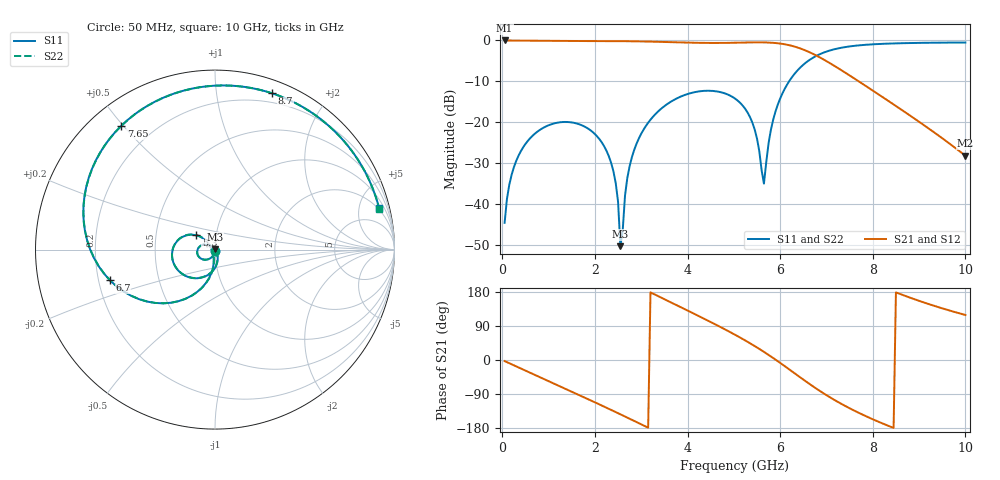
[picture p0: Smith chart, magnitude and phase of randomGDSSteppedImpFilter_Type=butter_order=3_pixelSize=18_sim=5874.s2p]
! freq	dB(S11)	phase(S11)	dB(S12)	phase(S12)
!  dB(S21)	phase(S21)	dB(S22)	phase(S22)
!S-par simulation data
#  GHz  S  DB  R 50
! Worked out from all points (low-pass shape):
!   200 points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, 50 MHz to 10 GHz, reference 50 ohm
!   highest |S21| = 0.00 dB at 50 MHz (marker M1); lowest = -28.2 dB at 10 GHz (marker M2)
!   |S21| within 3 dB of the highest: start of sweep to 6.658 GHz
!   lowest |S11| = -50.3 dB at 2.55 GHz (marker M3), VSWR 1.01, Z = 49.8 + j0.265 ohm
!   |S11| at or under -10 dB: start of sweep to 6.193 GHz
!   |S22| runs from -50.2 to -0.5 dB; largest |S21 - S12| = 0
!   S11 on the Smith chart (normalised r, x): 50 MHz: 1.00, -0.01; 5.3 GHz: 0.80, +0.13; 6.7 GHz: 0.25, -0.13; 7.65 GHz: 0.09, +0.49; 8.7 GHz: 0.11, +1.42; 10 GHz: 1.85, +7.66
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0.05  -44.55 -89.7  -0.00 -2.8  -0.00 -2.8  -44.55 -89.7
0.2  -32.87 -100.4  -0.03 -11.3  -0.03 -11.3  -32.87 -100.4
0.55  -24.55 -121.0  -0.06 -30.8  -0.06 -30.8  -24.55 -121.0
1.75  -20.89 171.5  -0.15 -97.6  -0.15 -97.6  -20.89 171.8
2.35  -29.89 137.1  -0.16 -131.7  -0.16 -131.7  -29.90 138.3
2.5  -39.45 127.3  -0.17 -140.4  -0.17 -140.4  -39.46 131.4
2.55  -50.25 119.9  -0.18 -143.3  -0.18 -143.3  -50.24 135.9
2.65  -37.89 -58.4  -0.18 -149.1  -0.18 -149.1  -37.87 -62.3
2.8  -28.47 -68.0  -0.20 -157.9  -0.20 -157.9  -28.46 -69.5
3.4  -16.98 -103.7  -0.34 166.5  -0.34 166.5  -16.98 -104.3
4.3  -12.37 -157.0  -0.60 112.5  -0.60 112.5  -12.37 -157.6
5.05  -14.40 157.4  -0.56 65.0  -0.56 65.0  -14.40 156.7
5.3  -17.68 142.7  -0.50 47.8  -0.50 47.8  -17.68 141.6
5.5  -23.97 136.3  -0.47 33.1  -0.47 33.1  -24.02 134.2
5.65  -34.98 -149.7  -0.48 21.5  -0.48 21.5  -36.08 -149.0
5.75  -25.11 -97.6  -0.52 13.5  -0.52 13.5  -25.24 -95.7
5.95  -15.64 -102.1  -0.69 -3.3  -0.69 -3.3  -15.66 -101.6
6.7  -4.28 -163.8  -3.23 -68.8  -3.23 -68.8  -4.29 -163.9
7.65  -1.26 127.2  -9.65 -136.6  -9.65 -136.6  -1.26 126.9
8.35  -0.77 87.5  -14.87 -174.4  -14.87 -174.4  -0.77 87.2
8.7  -0.66 70.0  -17.54 169.1  -17.54 169.1  -0.66 69.7
10  -0.51 14.1  -28.17 118.8  -28.17 118.8  -0.51 13.8
